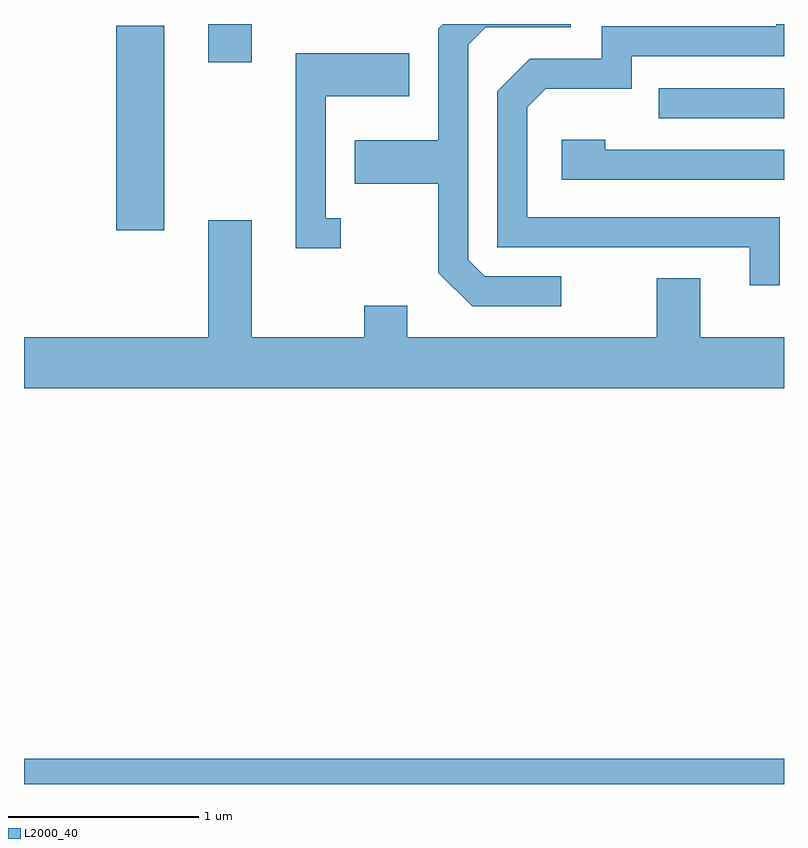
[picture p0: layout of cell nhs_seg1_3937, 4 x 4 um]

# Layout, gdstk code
import gdstk
lib = gdstk.Library(unit=1e-6, precision=1e-09)
def R(c, l, rs):  # rectangles x0, y0, x1, y1
    for r in rs: c.add(gdstk.rectangle(r[:2], r[2:], *l))
def P(c, l, *ps):  # polygons
    for p in ps: c.add(gdstk.Polygon(p, *l))
L2000_40 = (2000, 40)

nhs_seg1_3937 = lib.new_cell('nhs_seg1_3937')
R(nhs_seg1_3937, L2000_40, [(303.611,899.712,307.611,899.844), (304.096,902.626,304.349,903.704), (306.953,903.216,307.611,903.374), (304.581,903.511,304.809,903.712)])
P(nhs_seg1_3937, L2000_40, [(306.438,902.384),(306.037,902.384),(305.949,902.472),(305.949,903.604),(306.042,903.696),(306.488,903.696),(306.488,903.712),(305.816,903.712),(305.791,903.687),(305.791,903.099),(305.351,903.099),(305.351,902.871),(305.791,902.871),(305.791,902.404),(305.969,902.226),(306.438,902.226)],
  [(307.589,902.694),(306.259,902.694),(306.259,903.274),(306.357,903.371),(306.809,903.371),(306.809,903.541),(307.611,903.541),(307.611,903.712),(307.571,903.712),(307.571,903.699),(306.651,903.699),(306.651,903.529),(306.274,903.529),(306.101,903.357),(306.101,902.536),(307.431,902.536),(307.431,902.338),(307.589,902.338)],
  [(305.278,902.689),(305.199,902.689),(305.199,903.331),(305.639,903.331),(305.639,903.559),(305.041,903.559),(305.041,902.531),(305.278,902.531)],
  [(307.611,903.049),(306.669,903.049),(306.669,903.104),(306.441,903.104),(306.441,902.891),(307.611,902.891)],
  [(307.611,902.064),(307.169,902.064),(307.169,902.374),(306.941,902.374),(306.941,902.064),(305.629,902.064),(305.629,902.229),(305.401,902.229),(305.401,902.064),(304.809,902.064),(304.809,902.679),(304.581,902.679),(304.581,902.064),(303.611,902.064),(303.611,901.796),(307.611,901.796)])

lib.write_gds('nhs_seg1_3937.gds')
